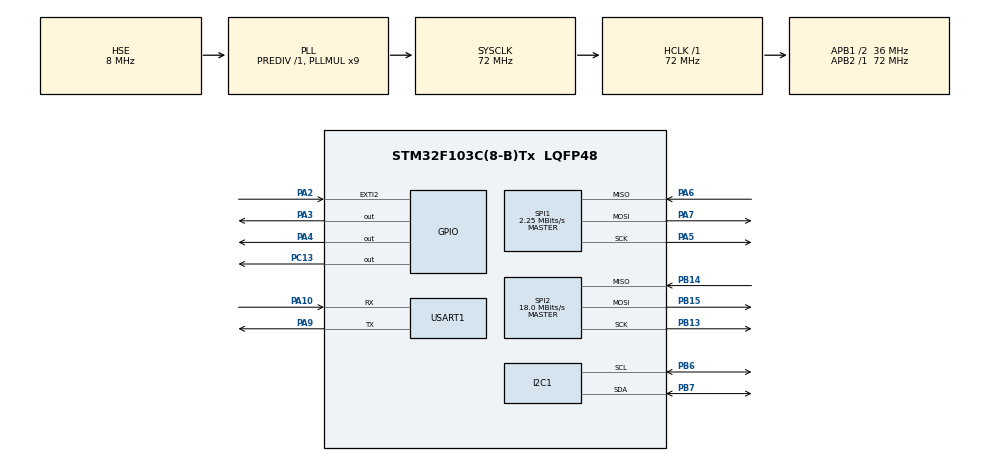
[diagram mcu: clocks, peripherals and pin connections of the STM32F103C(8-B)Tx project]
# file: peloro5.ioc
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Mcu.Family=STM32F1
Mcu.Name=STM32F103C(8-B)Tx
Mcu.Package=LQFP48
NVIC.EXTI2_IRQn=true\:0\:0\:false\:false\:true\:true\:true
NVIC.PriorityGroup=NVIC_PRIORITYGROUP_4
PA10.Mode=Asynchronous
PA10.Signal=USART1_RX
PA2.GPIO_PuPd=GPIO_PULLUP
PA2.Signal=GPXTI2
PA3.Signal=GPIO_Output
PA4.Signal=GPIO_Output
PA5.Mode=Full_Duplex_Master
PA5.Signal=SPI1_SCK
PA6.Mode=Full_Duplex_Master
PA6.Signal=SPI1_MISO
PA7.Mode=Full_Duplex_Master
PA7.Signal=SPI1_MOSI
PA9.Mode=Asynchronous
PA9.Signal=USART1_TX
PB13.Mode=Full_Duplex_Master
PB13.Signal=SPI2_SCK
PB14.Mode=Full_Duplex_Master
PB14.Signal=SPI2_MISO
PB15.Mode=Full_Duplex_Master
PB15.Signal=SPI2_MOSI
PB6.Mode=I2C
PB6.Signal=I2C1_SCL
PB7.Mode=I2C
PB7.Signal=I2C1_SDA
PC13-TAMPER-RTC.Signal=GPIO_Output
PD0-OSC_IN.Mode=HSE-External-Oscillator
PD0-OSC_IN.Signal=RCC_OSC_IN
PD1-OSC_OUT.Mode=HSE-External-Oscillator
PD1-OSC_OUT.Signal=RCC_OSC_OUT
ProjectManager.HeapSize=0x200
ProjectManager.StackSize=0x400
ProjectManager.TargetToolchain=STM32CubeIDE
RCC.AHBFreq_Value=72000000
RCC.APB1CLKDivider=RCC_HCLK_DIV2
RCC.APB1Freq_Value=36000000
RCC.APB1TimFreq_Value=72000000
RCC.APB2Freq_Value=72000000
RCC.APB2TimFreq_Value=72000000
RCC.HCLKFreq_Value=72000000
RCC.PLLMUL=RCC_PLL_MUL9
RCC.PLLSourceVirtual=RCC_PLLSOURCE_HSE
RCC.SYSCLKFreq_VALUE=72000000
RCC.SYSCLKSource=RCC_SYSCLKSOURCE_PLLCLK
RCC.USBFreq_Value=72000000
SPI1.BaudRatePrescaler=SPI_BAUDRATEPRESCALER_32
SPI1.CalculateBaudRate=2.25 MBits/s
SPI1.Direction=SPI_DIRECTION_2LINES
SPI1.Mode=SPI_MODE_MASTER
SPI1.VirtualType=VM_MASTER
SPI2.CalculateBaudRate=18.0 MBits/s
SPI2.Direction=SPI_DIRECTION_2LINES
SPI2.Mode=SPI_MODE_MASTER
SPI2.VirtualType=VM_MASTER
USART1.VirtualMode=VM_ASYNC
VP_SYS_VS_ND.Mode=No_Debug
board=custom

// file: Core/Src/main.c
/*

										██████╗ ███████╗██╗      ██████╗ ██████╗  ██████╗
										██╔══██╗██╔════╝██║     ██╔═══██╗██╔══██╗██╔═══██╗
										██████╔╝█████╗  ██║     ██║   ██║██████╔╝██║   ██║
										██╔═══╝ ██╔══╝  ██║     ██║   ██║██╔══██╗██║   ██║
										██║     ███████╗███████╗╚██████╔╝██║  ██║╚██████╔╝
										╚═╝     ╚══════╝╚══════╝ ╚═════╝ ╚═╝  ╚═╝ ╚═════╝

.: PINOS :.

----- YL-128 RS422 ----
VCC -> 3.3v
GND -> GND
RSD -> B14 (SPI2_MISO)
TXD -> B13 (SPI2_SCK)

------- nRF2401 -------
VCC  -> 3.3v
GND  -> GND
MOSI -> A7 (SPI1_MOSI)
MISO -> A6 (SPI1_MISO)
CS   -> A3
CE   -> A4
SCK  -> A5 (SPI1_SCK)

-------- Botão --------

BOTÃO -> A2  (iNTERRUPÇÃO)

*/
/* USER CODE BEGIN Header */
/**
  ******************************************************************************
  * @file           : main.c
  * @brief          : Main program body
  ******************************************************************************
  * @attention
  *
  * <h2><center>&copy; Copyright (c) 2020 STMicroelectronics.
  * All rights reserved.</center></h2>
  *
  * This software component is licensed by ST under BSD 3-Clause license,
  * the "License"; You may not use this file except in compliance with the
  * License. You may obtain a copy of the License at:
  *                        opensource.org/licenses/BSD-3-Clause
  *
  ******************************************************************************
  */
/* USER CODE END Header */

#include "main.h"

/* USER CODE BEGIN Includes */
#include "i2c-lcd.h"
#include "MY_NRF24.h"
/* USER CODE END Includes */

I2C_HandleTypeDef hi2c1;

SPI_HandleTypeDef hspi1; //nRF24
SPI_HandleTypeDef hspi2; //Encoder

UART_HandleTypeDef huart1;

void SystemClock_Config(void);
static void MX_GPIO_Init(void);
static void MX_I2C1_Init(void);
static void MX_SPI1_Init(void);
static void MX_SPI2_Init(void);
static void MX_USART1_UART_Init(void);

uint32_t GrayToBinary(uint32_t num);
uint8_t GrayToBinary8(uint8_t num);

/* USER CODE BEGIN 0 */
uint64_t TxpipeAddrs = 0xe7e7e7e7e7;
char myTxData[32] = "Tatu bola, te amo!";
char AckPayload[32];

char str[32];   // Para a conversão de número para vector
uint8_t buf_tx[3]= {0,0,0};
uint8_t buf_rx[3]= {0,0,0};
uint32_t y=0;
float grau;

/* USER CODE END 0 */

int main(void)
{

  /* MCU Configuration--------------------------------------------------------*/

  /* Reset of all peripherals, Initializes the Flash interface and the Systick. */
  HAL_Init();

  /* Configure the system clock */
  SystemClock_Config();

  /* Initialize all configured peripherals */
  MX_GPIO_Init();
  MX_I2C1_Init();
  MX_SPI1_Init();
  MX_SPI2_Init();
  MX_USART1_UART_Init();
  /* USER CODE BEGIN 2 */
  lcd_init ();
  HAL_Delay(100);
  lcd_send_string("Hello");
  HAL_Delay(1000);

  NRF24_begin(GPIOA,GPIO_PIN_3,GPIO_PIN_4, hspi1); //CS CE
  nrf24_DebugUART_Init(huart1);
  /* USER CODE END 2 */

  //*** TRANSMIT - ACK ***//
  NRF24_stopListening();
  NRF24_openWritingPipe(TxpipeAddrs);
  NRF24_setAutoAck(true);
  NRF24_setChannel(103);
  NRF24_setPayloadSize(32);

  NRF24_enableDynamicPayloads();
  NRF24_enableAckPayload();

  /* Infinite loop */
  while (1)
  {

		 HAL_SPI_TransmitReceive(&hspi1, (uint8_t *)buf_tx, (uint8_t *)buf_rx, 3, HAL_MAX_DELAY);
		 y =  ((buf_rx[0]<<16)|(buf_rx[1]<<8)|(buf_rx[2]));
		 y = GrayToBinary(y);

		 y = y >> 6;
		 y = y & 0x1FFFF;

		 //y=(y*360)/131072;

		 y = (y*3600)/131072;

		  snprintf(str, sizeof str, "%lu", y);

//		  lcd_send_string(str);
		  HAL_UART_Transmit(&huart1, (uint8_t*)str, strlen(str), HAL_MAX_DELAY);
		  HAL_UART_Transmit(&huart1, (uint8_t*)"\n\r", 2, HAL_MAX_DELAY);

		  HAL_GPIO_TogglePin(GPIOC, GPIO_PIN_13);
		  HAL_Delay(100);

    if (NRF24_write(myTxData,32)){

    	NRF24_read(AckPayload, 32);
    	HAL_UART_Transmit(&huart1, (uint8_t *)"Transmitted Successfully\r\n", strlen("Transmitted Successfully\r\n"), 10);

		char myDataack[80];
		sprintf(myDataack, "AckPayload:  %s \r\n", AckPayload);
		HAL_UART_Transmit(&huart1, (uint8_t *)myDataack, strlen(myDataack), 10);

		HAL_GPIO_TogglePin(GPIOC,GPIO_PIN_13);

    }

	lcd_send_string("ADAMS  ");

    //printRadioSettings();
    HAL_Delay(1000);
  }
}

void SystemClock_Config(void)
{
  RCC_OscInitTypeDef RCC_OscInitStruct = {0};
  RCC_ClkInitTypeDef RCC_ClkInitStruct = {0};

  /** Initializes the CPU, AHB and APB busses clocks
  */
  RCC_OscInitStruct.OscillatorType = RCC_OSCILLATORTYPE_HSE;
  RCC_OscInitStruct.HSEState = RCC_HSE_ON;
  RCC_OscInitStruct.HSEPredivValue = RCC_HSE_PREDIV_DIV1;
  RCC_OscInitStruct.HSIState = RCC_HSI_ON;
  RCC_OscInitStruct.PLL.PLLState = RCC_PLL_ON;
  RCC_OscInitStruct.PLL.PLLSource = RCC_PLLSOURCE_HSE;
  RCC_OscInitStruct.PLL.PLLMUL = RCC_PLL_MUL9;
  if (HAL_RCC_OscConfig(&RCC_OscInitStruct) != HAL_OK)
  {
    Error_Handler();
  }
  /** Initializes the CPU, AHB and APB busses clocks
  */
  RCC_ClkInitStruct.ClockType = RCC_CLOCKTYPE_HCLK|RCC_CLOCKTYPE_SYSCLK
                              |RCC_CLOCKTYPE_PCLK1|RCC_CLOCKTYPE_PCLK2;
  RCC_ClkInitStruct.SYSCLKSource = RCC_SYSCLKSOURCE_PLLCLK;
  RCC_ClkInitStruct.AHBCLKDivider = RCC_SYSCLK_DIV1;
  RCC_ClkInitStruct.APB1CLKDivider = RCC_HCLK_DIV2;
  RCC_ClkInitStruct.APB2CLKDivider = RCC_HCLK_DIV1;

  if (HAL_RCC_ClockConfig(&RCC_ClkInitStruct, FLASH_LATENCY_2) != HAL_OK)
  {
    Error_Handler();
  }
}

static void MX_I2C1_Init(void)
{

  hi2c1.Instance = I2C1;
  hi2c1.Init.ClockSpeed = 100000;
  hi2c1.Init.DutyCycle = I2C_DUTYCYCLE_2;
  hi2c1.Init.OwnAddress1 = 0;
  hi2c1.Init.AddressingMode = I2C_ADDRESSINGMODE_7BIT;
  hi2c1.Init.DualAddressMode = I2C_DUALADDRESS_DISABLE;
  hi2c1.Init.OwnAddress2 = 0;
  hi2c1.Init.GeneralCallMode = I2C_GENERALCALL_DISABLE;
  hi2c1.Init.NoStretchMode = I2C_NOSTRETCH_DISABLE;
  if (HAL_I2C_Init(&hi2c1) != HAL_OK)
  {
    Error_Handler();
  }

}

static void MX_SPI1_Init(void)
{

  /* SPI1 parameter configuration*/
  hspi1.Instance = SPI1;
  hspi1.Init.Mode = SPI_MODE_MASTER;
  hspi1.Init.Direction = SPI_DIRECTION_2LINES;
  hspi1.Init.DataSize = SPI_DATASIZE_8BIT;
  hspi1.Init.CLKPolarity = SPI_POLARITY_LOW;
  hspi1.Init.CLKPhase = SPI_PHASE_1EDGE;
  hspi1.Init.NSS = SPI_NSS_SOFT;
  hspi1.Init.BaudRatePrescaler = SPI_BAUDRATEPRESCALER_32;
  hspi1.Init.FirstBit = SPI_FIRSTBIT_MSB;
  hspi1.Init.TIMode = SPI_TIMODE_DISABLE;
  hspi1.Init.CRCCalculation = SPI_CRCCALCULATION_DISABLE;
  hspi1.Init.CRCPolynomial = 10;
  if (HAL_SPI_Init(&hspi1) != HAL_OK)
  {
    Error_Handler();
  }

}

static void MX_SPI2_Init(void)
{

  /* SPI2 parameter configuration*/
  hspi2.Instance = SPI2;
  hspi2.Init.Mode = SPI_MODE_MASTER;
  hspi2.Init.Direction = SPI_DIRECTION_2LINES;
  hspi2.Init.DataSize = SPI_DATASIZE_8BIT;
  hspi2.Init.CLKPolarity = SPI_POLARITY_HIGH;
  hspi2.Init.CLKPhase = SPI_PHASE_2EDGE;
  hspi2.Init.NSS = SPI_NSS_SOFT;
  hspi2.Init.BaudRatePrescaler = SPI_BAUDRATEPRESCALER_64;
  hspi2.Init.FirstBit = SPI_FIRSTBIT_MSB;
  hspi2.Init.TIMode = SPI_TIMODE_DISABLE;
  hspi2.Init.CRCCalculation = SPI_CRCCALCULATION_DISABLE;
  hspi2.Init.CRCPolynomial = 10;
  if (HAL_SPI_Init(&hspi2) != HAL_OK)
  {
    Error_Handler();
  }

}

static void MX_USART1_UART_Init(void)
{

  huart1.Instance = USART1;
  huart1.Init.BaudRate = 115200;
  huart1.Init.WordLength = UART_WORDLENGTH_8B;
  huart1.Init.StopBits = UART_STOPBITS_1;
  huart1.Init.Parity = UART_PARITY_NONE;
  huart1.Init.Mode = UART_MODE_TX_RX;
  huart1.Init.HwFlowCtl = UART_HWCONTROL_NONE;
  huart1.Init.OverSampling = UART_OVERSAMPLING_16;
  if (HAL_UART_Init(&huart1) != HAL_OK)
  {
    Error_Handler();
  }

}

static void MX_GPIO_Init(void)
{
  GPIO_InitTypeDef GPIO_InitStruct = {0};

  /* GPIO Ports Clock Enable */
  __HAL_RCC_GPIOC_CLK_ENABLE();
  __HAL_RCC_GPIOD_CLK_ENABLE();
  __HAL_RCC_GPIOA_CLK_ENABLE();
  __HAL_RCC_GPIOB_CLK_ENABLE();

  /*Configure GPIO pin Output Level */
  HAL_GPIO_WritePin(GPIOC, GPIO_PIN_13, GPIO_PIN_RESET);

  /*Configure GPIO pin Output Level */
  HAL_GPIO_WritePin(GPIOA, GPIO_PIN_3|GPIO_PIN_4, GPIO_PIN_RESET);

  /*Configure GPIO pin : PC13 */
  GPIO_InitStruct.Pin = GPIO_PIN_13;
  GPIO_InitStruct.Mode = GPIO_MODE_OUTPUT_PP;
  GPIO_InitStruct.Pull = GPIO_NOPULL;
  GPIO_InitStruct.Speed = GPIO_SPEED_FREQ_LOW;
  HAL_GPIO_Init(GPIOC, &GPIO_InitStruct);

  /*Configure GPIO pin : PA2 */
  GPIO_InitStruct.Pin = GPIO_PIN_2;
  GPIO_InitStruct.Mode = GPIO_MODE_IT_FALLING;
  GPIO_InitStruct.Pull = GPIO_PULLUP;
  HAL_GPIO_Init(GPIOA, &GPIO_InitStruct);

  /*Configure GPIO pins : PA3 PA4 */
  GPIO_InitStruct.Pin = GPIO_PIN_3|GPIO_PIN_4;
  GPIO_InitStruct.Mode = GPIO_MODE_OUTPUT_PP;
  GPIO_InitStruct.Pull = GPIO_NOPULL;
  GPIO_InitStruct.Speed = GPIO_SPEED_FREQ_LOW;
  HAL_GPIO_Init(GPIOA, &GPIO_InitStruct);

  /* EXTI interrupt init*/
  HAL_NVIC_SetPriority(EXTI2_IRQn, 0, 0);
  HAL_NVIC_EnableIRQ(EXTI2_IRQn);

}

/* USER CODE BEGIN 4 */
void HAL_GPIO_EXTI_Callback(uint16_t GPIO_PIN){
	if (GPIO_PIN == GPIO_PIN_2){
		  lcd_send_string("      Adams");
		  HAL_GPIO_TogglePin(GPIOC,GPIO_PIN_13);
	}
}

uint32_t GrayToBinary(uint32_t num)
{
    uint32_t mask = num >> 1;
    while (mask != 0)
    {
        num = num ^ mask;
        mask = mask >> 1;
    }
    return num;
}

uint8_t GrayToBinary8(uint8_t num)
{
    uint8_t mask = num >> 1;
    while (mask != 0)
    {
        num = num ^ mask;
        mask = mask >> 1;
    }
    return num;
}

/* USER CODE END 4 */

void Error_Handler(void)
{
}

/************************ (C) COPYRIGHT STMicroelectronics *****END OF FILE****/
